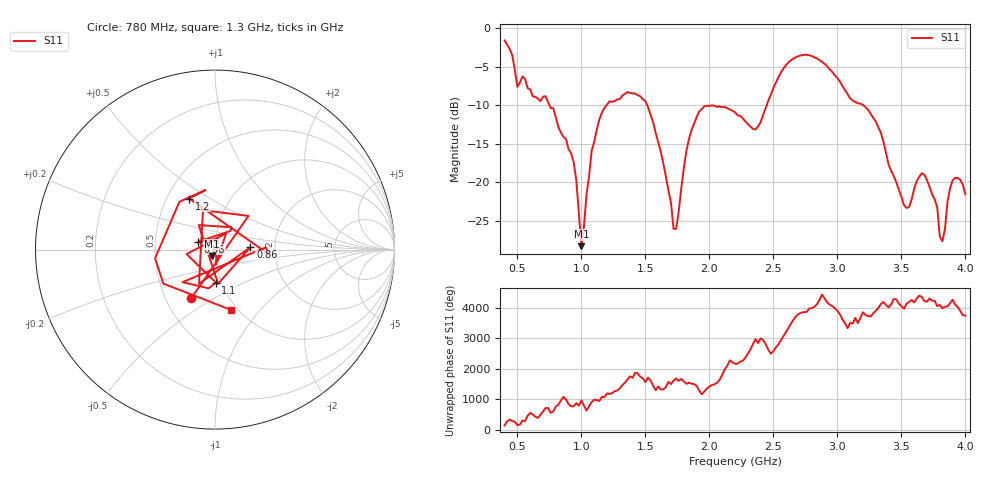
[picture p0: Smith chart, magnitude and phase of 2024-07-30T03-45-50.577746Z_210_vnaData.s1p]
!Created with skrf (http://scikit-rf.org).
# Hz S RI R 50.0
!freq ReS11 ImS11
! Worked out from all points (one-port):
!   181 points, 400 MHz to 4 GHz, reference 50 ohm
!   lowest |S11| = -28.3 dB at 1 GHz (marker M1), VSWR 1.08, Z = 48.3 - j3.38 ohm
!   |S11| at or under -10 dB: 750.5 MHz to 1.196 GHz (445.6 MHz wide, 45.8 % of centre); 1.514 GHz to 2.448 GHz (933.6 MHz wide, 47.1 % of centre); 3.203 GHz to end of sweep
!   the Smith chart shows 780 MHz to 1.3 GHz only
!   S11 on the Smith chart (normalised r, x): 780 MHz: 0.67, -0.40; 860 MHz: 1.49, +0.04; 960 MHz: 0.83, +0.07; 1.1 GHz: 0.94, -0.36; 1.2 GHz: 0.65, +0.41; 1.3 GHz: 0.93, -0.71
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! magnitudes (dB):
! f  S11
! 400 MHz  -1.6
! 500 MHz  -7.6
! 540 MHz  -6.3
! 780 MHz  -10.4
! 860 MHz  -14.1
! 960 MHz  -19.7
! 1 GHz  -28.3
! 1.1 GHz  -14.7
! 1.2 GHz  -9.9
! 1.3 GHz  -9.2
! 1.5 GHz  -9.4
! 1.62 GHz  -16.0
! 1.72 GHz  -26.0
! 1.76 GHz  -23.8
! 1.82 GHz  -16.0
! 1.92 GHz  -10.8
! 2.2 GHz  -10.9
! 2.36 GHz  -13.1
! 2.66 GHz  -3.9
! 2.86 GHz  -4.1
! 3.1 GHz  -9.1
! 3.3 GHz  -12.1
! 3.56 GHz  -23.2
! 3.68 GHz  -19.0
! 3.78 GHz  -23.2
! 3.82 GHz  -27.6
! 3.9 GHz  -19.7
! 4 GHz  -21.5
